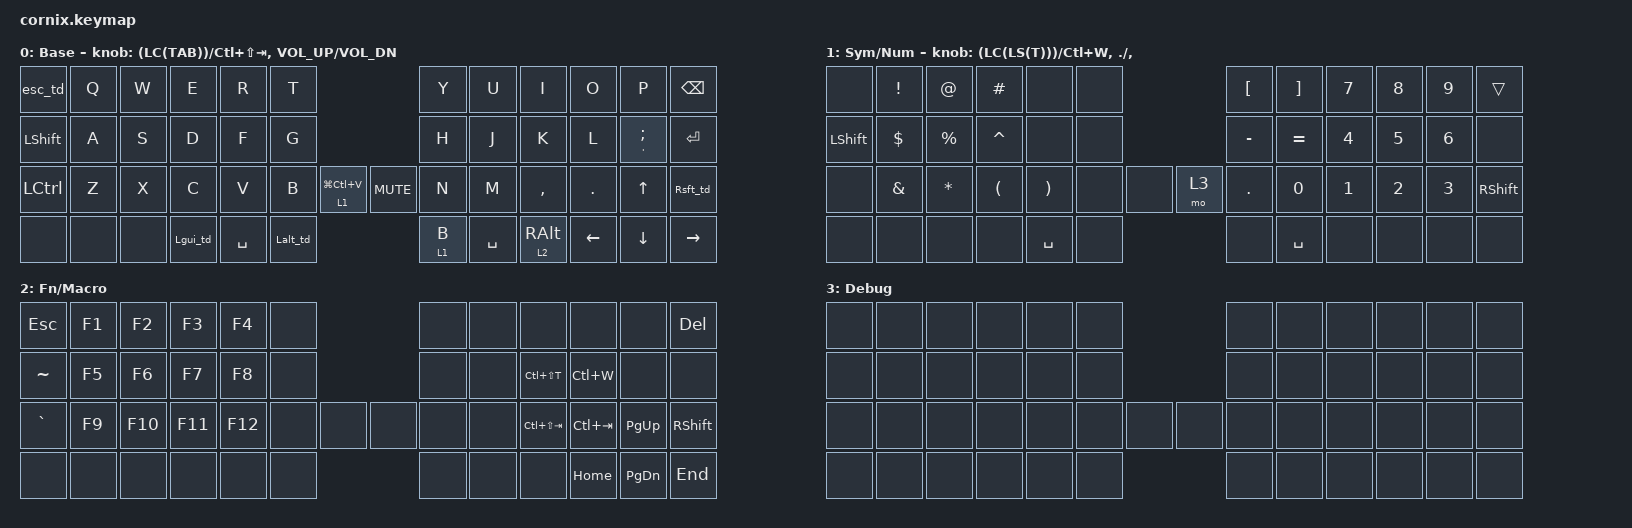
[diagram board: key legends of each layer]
/*
 * Cornix LP keymap adapted from the user's BLE configuration.
 * Bluetooth profile controls are omitted for the ESB-only build.
 *
 * SPDX-License-Identifier: MIT
 */

#define HM_TAPPING_TERM 250
#define ZMK_POINTING_DEFAULT_SCRL_VAL 15

#include <behaviors.dtsi>
#include <dt-bindings/zmk/keys.h>

/ {
    behaviors {
        lt: layer_tap {
            compatible = "zmk,behavior-hold-tap";
            #binding-cells = <2>;
            bindings = <&mo>, <&kp>;

            flavor = "tap-preferred";
            tapping-term-ms = <HM_TAPPING_TERM>;
            quick-tap-ms = <200>;
        };

        ht: hold_tap {
            compatible = "zmk,behavior-hold-tap";
            bindings = <&kp>, <&kp>;

            #binding-cells = <2>;
            tapping-term-ms = <125>;
            flavor = "tap-preferred";
            quick-tap-ms = <125>;
        };

        Rsft_td: Rsft_td {
            compatible = "zmk,behavior-tap-dance";
            label = "Rsft_td";
            #binding-cells = <0>;
            tapping-term-ms = <150>;
            bindings = <&ht RSHIFT SLASH>, <&ht QMARK QMARK>;
        };

        esc_td: esc_td {
            compatible = "zmk,behavior-tap-dance";
            label = "ESC_TD";
            #binding-cells = <0>;
            bindings = <&ht TAB TAB>, <&ht TAB ESC>;

            tapping-term-ms = <125>;
        };

        Lalt_td: Lalt_td {
            compatible = "zmk,behavior-tap-dance";
            label = "LALT_TD";
            #binding-cells = <0>;
            bindings = <&ht LALT Y>, <&lt 1 LALT>;

            tapping-term-ms = <125>;
        };

        Lgui_td: Lgui_td {
            compatible = "zmk,behavior-tap-dance";
            label = "LGUI_TD";
            #binding-cells = <0>;
            bindings = <&ht LGUI LGUI>, <&lt 2 LGUI>;

            tapping-term-ms = <200>;
        };
    };

    conditional_layers { compatible = "zmk,conditional-layers"; };

    combos { compatible = "zmk,combos"; };

    keymap {
        compatible = "zmk,keymap";

        default_layer {
            display-name = "Base";

            bindings = <
&esc_td     &kp Q  &kp W  &kp E     &kp R      &kp T                                    &kp Y    &kp U      &kp I       &kp O     &kp P               &kp BACKSPACE
&kp LSHIFT  &kp A  &kp S  &kp D     &kp F      &kp G                                    &kp H    &kp J      &kp K       &kp L     &ht APOS SEMICOLON  &kp ENTER
&kp LCTRL   &kp Z  &kp X  &kp C     &kp V      &kp B     &lt 1 LG(LC(V))  &kp C_MUTE    &kp N    &kp M      &kp COMMA   &kp DOT   &kp UP              &Rsft_td
&none       &none  &none  &Lgui_td  &kp SPACE  &Lalt_td                                 &lt 1 B  &kp SPACE  &lt 2 RALT  &kp LEFT  &kp DOWN            &kp RIGHT
            >;

            sensor-bindings =
                <&inc_dec_kp (LC(TAB)) LC(LS(TAB))>,
                <&inc_dec_kp C_VOL_UP C_VOL_DN>;
        };

        sym_num_layer {
            bindings = <
&none       &kp EXCLAMATION  &kp AT_SIGN   &kp POUND             &none                  &none                &kp LEFT_BRACKET  &kp RIGHT_BRACKET  &kp N7  &kp N8  &kp N9  &trans
&kp LSHIFT  &kp DOLLAR       &kp PERCENT   &kp CARET             &none                  &none                &kp MINUS         &kp EQUAL          &kp N4  &kp N5  &kp N6  &none
&none       &kp AMPERSAND    &kp ASTERISK  &kp LEFT_PARENTHESIS  &kp RIGHT_PARENTHESIS  &none  &none  &mo 3  &kp DOT           &kp N0             &kp N1  &kp N2  &kp N3  &kp RSHFT
&none       &none            &none         &none                 &kp SPACE              &none                &none             &kp SPACE          &none   &none   &none   &none
            >;

            label = "Sym/Num";
            sensor-bindings =
                <&inc_dec_kp (LC(LS(T))) LC(W)>,
                <&inc_dec_kp PERIOD COMMA>;
        };

        fn_macro_layer {
            bindings = <
&kp ESC    &kp F1  &kp F2   &kp F3   &kp F4   &none                &none  &none  &none            &none        &none          &kp DEL
&kp TILDE  &kp F5  &kp F6   &kp F7   &kp F8   &none                &none  &none  &kp LC(LS(T))    &kp LC(W)    &none          &none
&kp GRAVE  &kp F9  &kp F10  &kp F11  &kp F12  &none  &none  &none  &none  &none  &kp LC(LS(TAB))  &kp LC(TAB)  &kp PAGE_UP    &kp RSHIFT
&none      &none   &none    &none    &none    &none                &none  &none  &none            &kp HOME     &kp PAGE_DOWN  &kp END
            >;

            label = "Fn/Macro";
        };

        Debug_layer {
            display-name = "Debug";

            // Bluetooth profile selection is omitted in this ESB-only build.
            bindings = <
&none  &none  &none  &none  &none  &none                &none  &none  &none  &none  &none  &none
&none  &none  &none  &none  &none  &none                &none  &none  &none  &none  &none  &none
&none  &none  &none  &none  &none  &none  &none  &none  &none  &none  &none  &none  &none  &none
&none  &none  &none  &none  &none  &none                &none  &none  &none  &none  &none  &none
            >;
        };
    };
};
